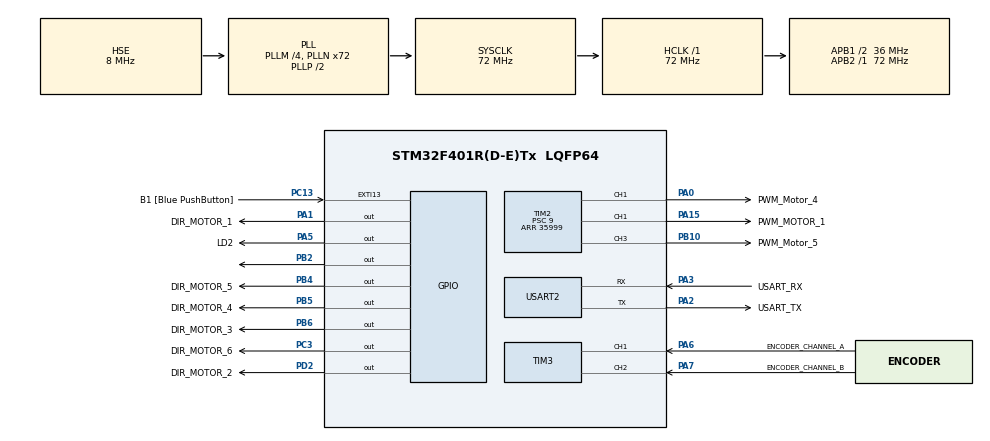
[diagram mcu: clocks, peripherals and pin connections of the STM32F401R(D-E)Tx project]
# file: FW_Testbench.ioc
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Dma.Request0=USART2_TX
Dma.USART2_TX.0.Direction=DMA_MEMORY_TO_PERIPH
Dma.USART2_TX.0.FIFOMode=DMA_FIFOMODE_DISABLE
Dma.USART2_TX.0.Instance=DMA1_Stream6
Dma.USART2_TX.0.MemDataAlignment=DMA_MDATAALIGN_BYTE
Dma.USART2_TX.0.MemInc=DMA_MINC_ENABLE
Dma.USART2_TX.0.Mode=DMA_NORMAL
Dma.USART2_TX.0.PeriphDataAlignment=DMA_PDATAALIGN_BYTE
Dma.USART2_TX.0.PeriphInc=DMA_PINC_DISABLE
Dma.USART2_TX.0.Priority=DMA_PRIORITY_LOW
FREERTOS.BinarySemaphores01=binarySemaphore,Dynamic,NULL
FREERTOS.Tasks01=Sensors_Task,-1,128,StartSensorsTask,Default,NULL,Dynamic,NULL,NULL;MotorControl_Ta,0,128,StartMotorControlTask,Default,NULL,Dynamic,NULL,NULL;UART_task,1,128,StartUART_task,Default,NULL,Dynamic,NULL,NULL
FREERTOS.configUSE_NEWLIB_REENTRANT=1
Mcu.Family=STM32F4
Mcu.Name=STM32F401R(D-E)Tx
Mcu.Package=LQFP64
NVIC.DMA1_Stream6_IRQn=true\:5\:0\:false\:false\:true\:true\:false\:true\:true
NVIC.PriorityGroup=NVIC_PRIORITYGROUP_4
NVIC.TIM1_BRK_TIM9_IRQn=true\:15\:0\:false\:false\:true\:false\:false\:true\:true
NVIC.TIM3_IRQn=true\:5\:0\:false\:false\:true\:true\:true\:true\:true
NVIC.TimeBase=TIM1_BRK_TIM9_IRQn
NVIC.TimeBaseIP=TIM9
NVIC.USART2_IRQn=true\:5\:0\:false\:false\:true\:true\:true\:true\:true
PA0-WKUP.GPIO_Label=PWM_Motor_4
PA0-WKUP.Signal=S_TIM2_CH1_ETR
PA1.GPIO_Label=DIR_MOTOR_1
PA1.Signal=GPIO_Output
PA10.GPIO_Label=PWM_Motor_2
PA10.Signal=S_TIM1_CH3
PA11.GPIO_Label=PWM_Motor_3
PA11.Signal=S_TIM1_CH4
PA13.GPIO_Label=TMS
PA13.Mode=Serial_Wire
PA13.Signal=SYS_JTMS-SWDIO
PA14.GPIO_Label=TCK
PA14.Mode=Serial_Wire
PA14.Signal=SYS_JTCK-SWCLK
PA15.GPIO_Label=PWM_MOTOR_1
PA15.Signal=S_TIM2_CH1_ETR
PA2.GPIO_Label=USART_TX
PA2.GPIO_Mode=GPIO_MODE_AF_PP
PA2.GPIO_PuPd=GPIO_NOPULL
PA2.GPIO_Speed=GPIO_SPEED_FREQ_LOW
PA2.Mode=Asynchronous
PA2.Signal=USART2_TX
PA3.GPIO_Label=USART_RX
PA3.GPIO_Mode=GPIO_MODE_AF_PP
PA3.GPIO_PuPd=GPIO_NOPULL
PA3.GPIO_Speed=GPIO_SPEED_FREQ_LOW
PA3.Mode=Asynchronous
PA3.Signal=USART2_RX
PA5.GPIO_Label=LD2 
PA5.GPIO_PuPd=GPIO_NOPULL
PA5.GPIO_Speed=GPIO_SPEED_FREQ_LOW
PA5.Signal=GPIO_Output
PA6.GPIO_Label=ENCODER_CHANNEL_A
PA6.Signal=S_TIM3_CH1
PA7.GPIO_Label=ENCODER_CHANNEL_B
PA7.Signal=S_TIM3_CH2
PA8.GPIO_Label=PWM_Motor_0
PA8.Signal=S_TIM1_CH1
PA9.GPIO_Label=PWM_Motor_1
PA9.Signal=S_TIM1_CH2
PB10.GPIO_Label=PWM_Motor_5
PB10.Signal=S_TIM2_CH3
PB2.Signal=GPIO_Output
PB3.GPIO_Label=SWO
PB3.Signal=SYS_JTDO-SWO
PB4.GPIO_Label=DIR_MOTOR_5
PB4.Signal=GPIO_Output
PB5.GPIO_Label=DIR_MOTOR_4
PB5.Signal=GPIO_Output
PB6.GPIO_Label=DIR_MOTOR_3
PB6.Signal=GPIO_Output
PB7.GPIO_Label=PWM_MOTOR_5
PB7.Signal=S_TIM4_CH2
PB8.GPIO_Label=PWM_MOTOR_4
PB8.Signal=S_TIM4_CH3
PB9.GPIO_Label=PWM_MOTOR_3
PB9.Signal=S_TIM4_CH4
PC13-ANTI_TAMP.GPIO_Label=B1 [Blue PushButton]
PC13-ANTI_TAMP.GPIO_ModeDefaultEXTI=GPIO_MODE_IT_FALLING
PC13-ANTI_TAMP.GPIO_PuPd=GPIO_NOPULL
PC13-ANTI_TAMP.Signal=GPXTI13
PC14-OSC32_IN.Mode=LSE-External-Oscillator
PC14-OSC32_IN.Signal=RCC_OSC32_IN
PC15-OSC32_OUT.Mode=LSE-External-Oscillator
PC15-OSC32_OUT.Signal=RCC_OSC32_OUT
PC3.GPIO_Label=DIR_MOTOR_6
PC3.Signal=GPIO_Output
PD2.GPIO_Label=DIR_MOTOR_2
PD2.Signal=GPIO_Output
PH0\ -\ OSC_IN.Mode=HSE-External-Oscillator
PH0\ -\ OSC_IN.Signal=RCC_OSC_IN
PH1\ -\ OSC_OUT.Mode=HSE-External-Oscillator
PH1\ -\ OSC_OUT.Signal=RCC_OSC_OUT
ProjectManager.HeapSize=0x200
ProjectManager.StackSize=0x400
ProjectManager.TargetToolchain=STM32CubeIDE
RCC.48MHZClocksFreq_Value=20571428.57142857
RCC.AHBFreq_Value=72000000
RCC.APB1CLKDivider=RCC_HCLK_DIV2
RCC.APB1Freq_Value=36000000
RCC.APB1TimFreq_Value=72000000
RCC.APB2Freq_Value=72000000
RCC.APB2TimFreq_Value=72000000
RCC.CortexFreq_Value=72000000
RCC.HCLKFreq_Value=72000000
RCC.HSE_VALUE=8000000
RCC.HSI_VALUE=16000000
RCC.PLLM=4
RCC.PLLN=72
RCC.PLLQ=7
RCC.PLLSourceVirtual=RCC_PLLSOURCE_HSE
RCC.SYSCLKFreq_VALUE=72000000
RCC.SYSCLKSource=RCC_SYSCLKSOURCE_PLLCLK
RCC.VCOOutputFreq_Value=144000000
SH.S_TIM2_CH1_ETR.0=TIM2_CH1,PWM Generation1 CH1
SH.S_TIM2_CH3.0=TIM2_CH3,PWM Generation3 CH3
SH.S_TIM3_CH1.0=TIM3_CH1,Encoder_Interface
SH.S_TIM3_CH2.0=TIM3_CH2,Encoder_Interface
TIM1.AutoReloadPreload=TIM_AUTORELOAD_PRELOAD_ENABLE
TIM1.Channel-PWM\ Generation1\ CH1=TIM_CHANNEL_1
TIM1.Channel-PWM\ Generation2\ CH2=TIM_CHANNEL_2
TIM1.Channel-PWM\ Generation3\ CH3=TIM_CHANNEL_3
TIM1.Channel-PWM\ Generation4\ CH4=TIM_CHANNEL_4
TIM1.Period=35999
TIM1.Prescaler=9
TIM2.AutoReloadPreload=TIM_AUTORELOAD_PRELOAD_ENABLE
TIM2.Channel-PWM\ Generation1\ CH1=TIM_CHANNEL_1
TIM2.Channel-PWM\ Generation3\ CH3=TIM_CHANNEL_3
TIM2.Period=35999
TIM2.Prescaler=9
TIM3.EncoderMode=TIM_ENCODERMODE_TI12
USART2.VirtualMode=VM_ASYNC
VP_FREERTOS_VS_CMSIS_V1.Mode=CMSIS_V1
VP_SYS_VS_tim9.Mode=TIM9
VP_TIM1_VS_ClockSourceINT.Mode=Internal
VP_TIM1_VS_ClockSourceITR.Mode=TriggerSource_ITR0
VP_TIM2_VS_ClockSourceINT.Mode=Internal
VP_TIM2_VS_ClockSourceITR.Mode=TriggerSource_ITR0
VP_TIM4_VS_ClockSourceITR.Mode=TriggerSource_ITR0
VP_TIM5_VS_ClockSourceITR.Mode=TriggerSource_ITR0
board=NUCLEO-F401RE

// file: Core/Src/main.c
/* USER CODE BEGIN Header */
/**
  ******************************************************************************
  * @file           : main.c
  * @brief          : Main program body
  ******************************************************************************
  * @attention
  *
  * Copyright (c) 2023 STMicroelectronics.
  * All rights reserved.
  *
  * This software is licensed under terms that can be found in the LICENSE file
  * in the root directory of this software component.
  * If no LICENSE file comes with this software, it is provided AS-IS.
  *
  ******************************************************************************
  */
/* USER CODE END Header */
#include "main.h"
#include "cmsis_os.h"
#include "dma.h"
#include "tim.h"
#include "usart.h"
#include "gpio.h"

/* USER CODE BEGIN Includes */
#include "stdio.h"
/* USER CODE END Includes */

void SystemClock_Config(void);
void MX_FREERTOS_Init(void);

/* USER CODE BEGIN 0 */
int _write(int file, char *ptr, int len)
{
	for (int i = 0; i <len; i++){
		ITM_SendChar((*ptr++));
	}
	return len;

}

/* USER CODE END 0 */

int main(void)
{

  /* MCU Configuration--------------------------------------------------------*/

  /* Reset of all peripherals, Initializes the Flash interface and the Systick. */
  HAL_Init();

  /* Configure the system clock */
  SystemClock_Config();

  /* Initialize all configured peripherals */
  MX_GPIO_Init();
  MX_DMA_Init();
  MX_USART2_UART_Init();
  MX_TIM2_Init();
  MX_TIM1_Init();
  MX_TIM3_Init();

  /* Call init function for freertos objects (in cmsis_os2.c) */
  MX_FREERTOS_Init();

  /* Start scheduler */
  osKernelStart();

  /* We should never get here as control is now taken by the scheduler */

  /* Infinite loop */
  while (1)
  {

  }
}

void SystemClock_Config(void)
{
  RCC_OscInitTypeDef RCC_OscInitStruct = {0};
  RCC_ClkInitTypeDef RCC_ClkInitStruct = {0};

  /** Configure the main internal regulator output voltage
  */
  __HAL_RCC_PWR_CLK_ENABLE();
  __HAL_PWR_VOLTAGESCALING_CONFIG(PWR_REGULATOR_VOLTAGE_SCALE2);

  /** Initializes the RCC Oscillators according to the specified parameters
  * in the RCC_OscInitTypeDef structure.
  */
  RCC_OscInitStruct.OscillatorType = RCC_OSCILLATORTYPE_HSE;
  RCC_OscInitStruct.HSEState = RCC_HSE_ON;
  RCC_OscInitStruct.PLL.PLLState = RCC_PLL_ON;
  RCC_OscInitStruct.PLL.PLLSource = RCC_PLLSOURCE_HSE;
  RCC_OscInitStruct.PLL.PLLM = 4;
  RCC_OscInitStruct.PLL.PLLN = 72;
  RCC_OscInitStruct.PLL.PLLP = RCC_PLLP_DIV2;
  RCC_OscInitStruct.PLL.PLLQ = 7;
  if (HAL_RCC_OscConfig(&RCC_OscInitStruct) != HAL_OK)
  {
    Error_Handler();
  }

  /** Initializes the CPU, AHB and APB buses clocks
  */
  RCC_ClkInitStruct.ClockType = RCC_CLOCKTYPE_HCLK|RCC_CLOCKTYPE_SYSCLK
                              |RCC_CLOCKTYPE_PCLK1|RCC_CLOCKTYPE_PCLK2;
  RCC_ClkInitStruct.SYSCLKSource = RCC_SYSCLKSOURCE_PLLCLK;
  RCC_ClkInitStruct.AHBCLKDivider = RCC_SYSCLK_DIV1;
  RCC_ClkInitStruct.APB1CLKDivider = RCC_HCLK_DIV2;
  RCC_ClkInitStruct.APB2CLKDivider = RCC_HCLK_DIV1;

  if (HAL_RCC_ClockConfig(&RCC_ClkInitStruct, FLASH_LATENCY_2) != HAL_OK)
  {
    Error_Handler();
  }
}

void HAL_TIM_PeriodElapsedCallback(TIM_HandleTypeDef *htim)
{
  if (htim->Instance == TIM9) {

    HAL_IncTick();
  }
}

void Error_Handler(void)
{
  __disable_irq();
  while (1)
  {
  }
}

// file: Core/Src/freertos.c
/* USER CODE BEGIN Header */
/**
  ******************************************************************************
  * File Name          : freertos.c
  * Description        : Code for freertos applications
  ******************************************************************************
  * @attention
  *
  * Copyright (c) 2023 STMicroelectronics.
  * All rights reserved.
  *
  * This software is licensed under terms that can be found in the LICENSE file
  * in the root directory of this software component.
  * If no LICENSE file comes with this software, it is provided AS-IS.
  *
  ******************************************************************************
  */
/* USER CODE END Header */

#include "FreeRTOS.h"
#include "task.h"
#include "main.h"
#include "cmsis_os.h"

/* USER CODE BEGIN Includes */
#include "motor_control.h"
#include "uart.h"
#include "encoder.h"
#include "stdio.h"
#include "usart.h"
#include <string.h>

/* USER CODE END Includes */

osThreadId Sensors_TaskHandle;
osThreadId MotorControl_TaHandle;
osThreadId UART_taskHandle;
osSemaphoreId binarySemaphoreHandle;

void StartSensorsTask(void const * argument);
void StartMotorControlTask(void const * argument);
void StartUART_task(void const * argument);

void MX_FREERTOS_Init(void); /* (MISRA C 2004 rule 8.1) */

/* GetIdleTaskMemory prototype (linked to static allocation support) */
void vApplicationGetIdleTaskMemory( StaticTask_t **ppxIdleTaskTCBBuffer, StackType_t **ppxIdleTaskStackBuffer, uint32_t *pulIdleTaskStackSize );

/* USER CODE BEGIN GET_IDLE_TASK_MEMORY */
static StaticTask_t xIdleTaskTCBBuffer;
static StackType_t xIdleStack[configMINIMAL_STACK_SIZE];

void vApplicationGetIdleTaskMemory( StaticTask_t **ppxIdleTaskTCBBuffer, StackType_t **ppxIdleTaskStackBuffer, uint32_t *pulIdleTaskStackSize )
{
  *ppxIdleTaskTCBBuffer = &xIdleTaskTCBBuffer;
  *ppxIdleTaskStackBuffer = &xIdleStack[0];
  *pulIdleTaskStackSize = configMINIMAL_STACK_SIZE;
  /* place for user code */
}
/* USER CODE END GET_IDLE_TASK_MEMORY */

void MX_FREERTOS_Init(void) {

  /* Create the semaphores(s) */
  /* definition and creation of binarySemaphore */
  osSemaphoreDef(binarySemaphore);
  binarySemaphoreHandle = osSemaphoreCreate(osSemaphore(binarySemaphore), 1);

  /* Create the thread(s) */

  /* definition and creation of Sensors_Task */
  osThreadDef(Sensors_Task, StartSensorsTask, osPriorityBelowNormal, 0, 128);
  Sensors_TaskHandle = osThreadCreate(osThread(Sensors_Task), NULL);

  /* definition and creation of MotorControl_Ta */
  osThreadDef(MotorControl_Ta, StartMotorControlTask, osPriorityNormal, 0, 128);
  MotorControl_TaHandle = osThreadCreate(osThread(MotorControl_Ta), NULL);

  /* definition and creation of UART_task */
  osThreadDef(UART_task, StartUART_task, osPriorityAboveNormal, 0, 128);
  UART_taskHandle = osThreadCreate(osThread(UART_task), NULL);

}

void StartSensorsTask(void const * argument)
{
  /* USER CODE BEGIN StartSensorsTask */
  Encoder_Init();

  /* Infinite loop */
	Encoder_Init();
  for(;;)
  {
	  Encoder_Task();
    osDelay(100);
  }
  /* USER CODE END StartSensorsTask */
}

void StartMotorControlTask(void const * argument)
{
  /* USER CODE BEGIN StartMotorControlTask */
  /* Encoder_Init() à rajouter */
  MotorControl_Init();

  /* Infinite loop */
  for(;;)
  {
	/* Encoder_Task() à rajouter */
	MotorControl_Task();
    osDelay(100);
  }
  /* USER CODE END StartMotorControlTask */
}

void StartUART_task(void const * argument)
{
  /* USER CODE BEGIN StartUART_task */
  UART_Init();

  /* Infinite loop */
  for(;;)
  {

	UART_Task();
    osDelay(75);
  }
  /* USER CODE END StartUART_task */
}
